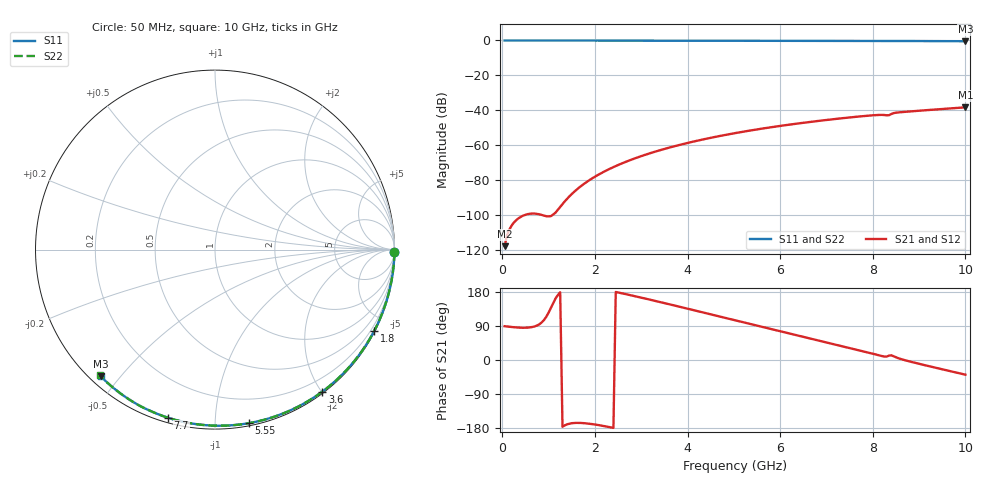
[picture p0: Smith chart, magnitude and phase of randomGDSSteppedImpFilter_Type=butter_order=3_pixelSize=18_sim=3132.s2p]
! freq	dB(S11)	phase(S11)	dB(S12)	phase(S12)
!  dB(S21)	phase(S21)	dB(S22)	phase(S22)
!S-par simulation data
#  GHz  S  DB  R 50
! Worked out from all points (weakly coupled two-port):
!   200 points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, 50 MHz to 10 GHz, reference 50 ohm
!   highest |S21| = -38.32 dB at 10 GHz (marker M1); lowest = -117.8 dB at 50 MHz (marker M2)
!   lowest |S11| = -0.4 dB at 10 GHz (marker M3), VSWR 39.16, Z = 1.53 - j22.2 ohm
!   |S11| at or under -10 dB: nowhere
!   |S22| runs from -0.4 to 0.0 dB; largest |S21 - S12| = 0
!   S11 on the Smith chart (normalised r, x): 50 MHz: open; 1.8 GHz: 0.04, -4.15; 3.6 GHz: 0.02, -2.01; 5.55 GHz: 0.02, -1.21; 7.7 GHz: 0.02, -0.76; 10 GHz: 0.03, -0.44
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0.05  -0.00 -0.8  -117.83 89.2  -117.83 89.2  -0.00 -0.8
0.9  -0.02 -13.7  -100.32 105.4  -100.32 105.4  -0.02 -13.7
1.75  -0.03 -26.3  -82.41 -166.5  -82.41 -166.5  -0.03 -26.4
1.8  -0.03 -27.1  -81.46 -167.0  -81.46 -167.0  -0.03 -27.1
1.9  -0.04 -28.6  -79.68 -168.5  -79.68 -168.5  -0.04 -28.6
2.05  -0.04 -30.8  -77.27 -171.2  -77.27 -171.2  -0.04 -30.8
2.25  -0.04 -33.7  -74.43 -175.6  -74.43 -175.6  -0.04 -33.8
2.65  -0.05 -39.5  -69.69 174.3  -69.69 174.3  -0.05 -39.6
3  -0.06 -44.5  -66.26 164.6  -66.26 164.6  -0.06 -44.6
3.4  -0.07 -50.1  -62.91 153.1  -62.91 153.1  -0.07 -50.3
3.6  -0.07 -52.9  -61.41 147.3  -61.41 147.3  -0.07 -53.1
4.3  -0.09 -62.6  -56.89 126.5  -56.89 126.5  -0.09 -62.7
5.05  -0.11 -72.6  -52.97 104.1  -52.97 104.1  -0.11 -72.7
5.55  -0.13 -79.1  -50.74 89.2  -50.74 89.2  -0.13 -79.2
6.1  -0.15 -86.1  -48.58 72.9  -48.58 72.9  -0.15 -86.2
6.7  -0.18 -93.5  -46.49 55.1  -46.49 55.1  -0.18 -93.7
7.7  -0.24 -105.6  -43.57 25.6  -43.57 25.6  -0.24 -105.8
8.1  -0.27 -110.3  -42.70 13.4  -42.70 13.4  -0.27 -110.5
8.35  -0.29 -113.2  -42.82 11.5  -42.82 11.5  -0.29 -113.4
8.45  -0.29 -114.4  -41.62 9.8  -41.62 9.8  -0.29 -114.6
8.55  -0.30 -115.5  -41.22 4.8  -41.22 4.8  -0.30 -115.8
10  -0.44 -132.1  -38.32 -38.7  -38.32 -38.7  -0.45 -132.4
